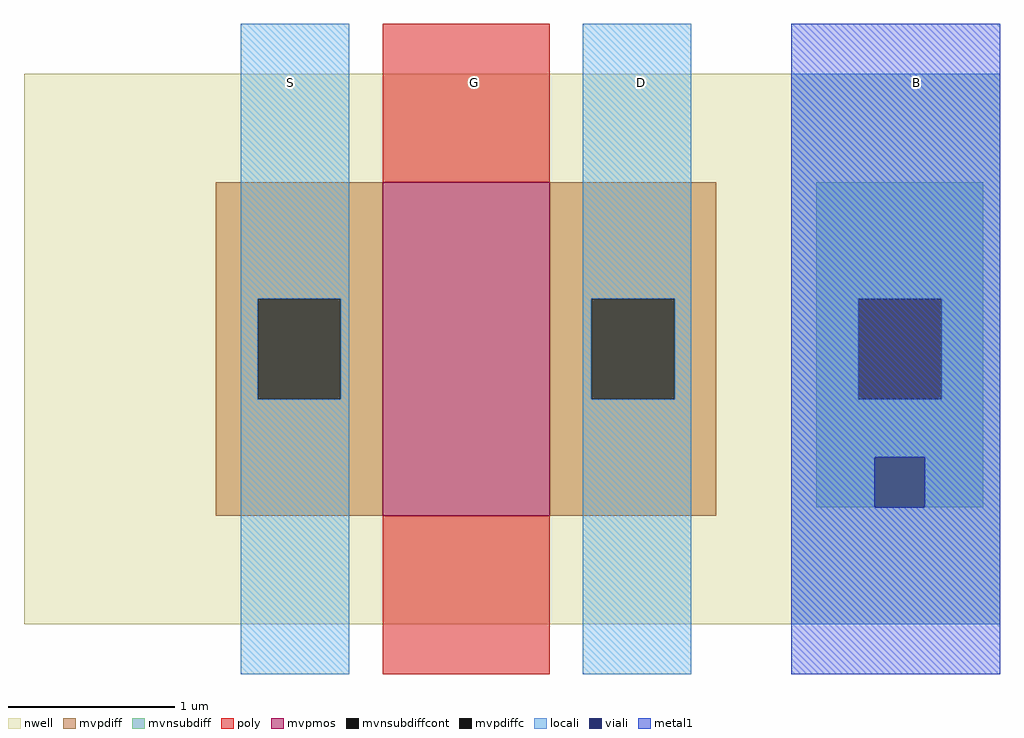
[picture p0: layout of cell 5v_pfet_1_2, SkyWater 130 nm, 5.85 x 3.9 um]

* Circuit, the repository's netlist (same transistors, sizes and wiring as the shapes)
* NGSPICE file created from 5v_pfet_1_2.ext - technology: sky130A

.subckt x5v_pfet_1_2 B D G S
X0 D G S B sky130_fd_pr__pfet_g5v0d10v5 ad=2 pd=6 as=2 ps=6 w=2 l=1
.ends

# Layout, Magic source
magic
tech sky130A
<< nwell >>
rect -215 -65 370 265
<< mvpmos >>
rect 0 0 100 200
<< mvpdiff >>
rect -100 130 0 200
rect -100 70 -75 130
rect -25 70 0 130
rect -100 0 0 70
rect 100 130 200 200
rect 100 70 125 130
rect 175 70 200 130
rect 100 0 200 70
<< mvpdiffc >>
rect -75 70 -25 130
rect 125 70 175 130
<< mvnsubdiff >>
rect 260 130 360 200
rect 260 70 285 130
rect 335 70 360 130
rect 260 5 360 70
<< mvnsubdiffcont >>
rect 285 70 335 130
<< poly >>
rect 0 200 100 295
rect 0 -95 100 0
<< locali >>
rect -85 130 -20 295
rect -85 70 -75 130
rect -25 70 -20 130
rect -85 -95 -20 70
rect 120 130 185 295
rect 120 70 125 130
rect 175 70 185 130
rect 120 -95 185 70
rect 245 130 370 265
rect 245 70 285 130
rect 335 70 370 130
rect 245 35 370 70
rect 245 5 295 35
rect 325 5 370 35
rect 245 -65 370 5
<< viali >>
rect 295 5 325 35
<< metal1 >>
rect 245 35 370 295
rect 245 5 295 35
rect 325 5 370 35
rect 245 -95 370 5
<< labels >>
rlabel locali -55 260 -55 260 5 S
port 4 s
rlabel poly 55 260 55 260 5 G
port 3 s
rlabel locali 155 260 155 260 5 D
port 2 s
rlabel metal1 320 260 320 260 5 B
port 1 s
<< end >>
